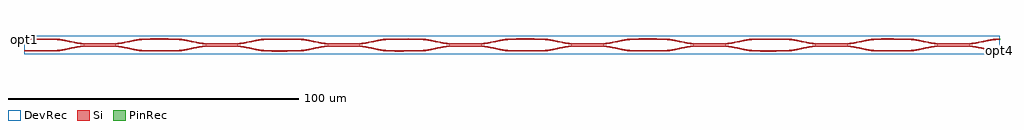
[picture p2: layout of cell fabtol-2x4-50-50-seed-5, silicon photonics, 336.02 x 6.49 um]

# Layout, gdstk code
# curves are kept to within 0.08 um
import gdstk
lib = gdstk.Library(unit=1e-6, precision=1e-09)
def R(c, l, rs):  # rectangles x0, y0, x1, y1
    for r in rs: c.add(gdstk.rectangle(r[:2], r[2:], *l))
def P(c, l, *ps):  # polygons
    for p in ps: c.add(gdstk.Polygon(p, *l))
Si = (1, 0)
PinRec = (1, 10)
DevRec = (68, 0)

layer_3_0_phase_sec_0_1 = lib.new_cell('layer-3_0_phase_sec_0$1')
P(layer_3_0_phase_sec_0_1, Si, [(1.371,-0.235),(0,-0.225),(0,0.225),(10,0.225),(10,-0.225)])

layer_0_0_phase_sec_0_1 = lib.new_cell('layer-0_0_phase_sec_0$1')
P(layer_0_0_phase_sec_0_1, Si, [(2.22,-0.228),(0,-0.225),(0,0.225),(10,0.225),(10,-0.225)])

layer_0_0_phase_sec_1_1 = lib.new_cell('layer-0_0_phase_sec_1$1')
P(layer_0_0_phase_sec_1_1, Si, [(3.771,-0.229),(0,-0.225),(0,0.225),(10,0.225),(10,-0.225)])

layer_2_0_phase_sec_3_1 = lib.new_cell('layer-2_0_phase_sec_3$1')
P(layer_2_0_phase_sec_3_1, Si, [(1.259,-0.231),(0,-0.225),(0,0.225),(10,0.225),(10,-0.225)])

dc_arm_down_1 = lib.new_cell('dc_arm_down$1')
R(dc_arm_down_1, Si, [(12,-0.55,20,-0.1)])
P(dc_arm_down_1, Si, [(32,-2.225),(30.861,-2.188),(29.344,-2.033),(22.966,-0.793),(21.481,-0.613),(20,-0.55),(20,-0.1),(21.139,-0.137),(22.656,-0.292),(29.034,-1.532),(30.519,-1.712),(32,-1.775)],
  [(0,-2.225),(0,-1.775),(1.481,-1.712),(2.966,-1.532),(9.344,-0.292),(10.861,-0.137),(12,-0.1),(12,-0.55),(10.519,-0.613),(9.034,-0.793),(2.656,-2.033),(1.139,-2.188)])

dc_arm_up_1 = lib.new_cell('dc_arm_up$1')
R(dc_arm_up_1, Si, [(12,0.1,20,0.55)])
P(dc_arm_up_1, Si, [(20,0.1),(20,0.55),(21.481,0.613),(22.966,0.793),(29.344,2.033),(30.861,2.188),(32,2.225),(32,1.775),(30.519,1.712),(29.034,1.532),(22.656,0.292),(21.139,0.137)],
  [(12,0.1),(10.861,0.137),(9.344,0.292),(2.966,1.532),(1.481,1.712),(0,1.775),(0,2.225),(1.139,2.188),(2.656,2.033),(9.034,0.793),(10.519,0.613),(12,0.55)])

dc_1 = lib.new_cell('dc$1')
dc_1.add(gdstk.Reference(dc_arm_down_1, (0,0)))
dc_1.add(gdstk.Reference(dc_arm_up_1, (0,0)))

layer_0_0_phase_sec_2_1 = lib.new_cell('layer-0_0_phase_sec_2$1')
P(layer_0_0_phase_sec_2_1, Si, [(3.047,-0.242),(0,-0.225),(0,0.225),(10,0.225),(10,-0.225)])

layer_3_0_phase_sec_2_1 = lib.new_cell('layer-3_0_phase_sec_2$1')
P(layer_3_0_phase_sec_2_1, Si, [(1.081,-0.24),(0,-0.225),(0,0.225),(10,0.225),(10,-0.225)])

layer_0_0_phase_sec_3_1 = lib.new_cell('layer-0_0_phase_sec_3$1')
P(layer_0_0_phase_sec_3_1, Si, [(7.243,-0.237),(0,-0.225),(0,0.225),(10,0.225),(10,-0.225)])

layer_1_0_phase_sec_0_1 = lib.new_cell('layer-1_0_phase_sec_0$1')
P(layer_1_0_phase_sec_0_1, Si, [(3.339,-0.231),(0,-0.225),(0,0.225),(10,0.225),(10,-0.225)])

layer_1_0_phase_sec_1_1 = lib.new_cell('layer-1_0_phase_sec_1$1')
P(layer_1_0_phase_sec_1_1, Si, [(2.643,-0.247),(0,-0.225),(0,0.225),(10,0.225),(10,-0.225)])

layer_3_0_phase_sec_1_1 = lib.new_cell('layer-3_0_phase_sec_1$1')
P(layer_3_0_phase_sec_1_1, Si, [(4.214,-0.244),(0,-0.225),(0,0.225),(10,0.225),(10,-0.225)])

layer_1_0_phase_sec_2_1 = lib.new_cell('layer-1_0_phase_sec_2$1')
P(layer_1_0_phase_sec_2_1, Si, [(6.297,-0.239),(0,-0.225),(0,0.225),(10,0.225),(10,-0.225)])

layer_1_0_phase_sec_3_1 = lib.new_cell('layer-1_0_phase_sec_3$1')
P(layer_1_0_phase_sec_3_1, Si, [(1.565,-0.24),(0,-0.225),(0,0.225),(10,0.225),(10,-0.225)])

layer_3_0_phase_sec_3_1 = lib.new_cell('layer-3_0_phase_sec_3$1')
P(layer_3_0_phase_sec_3_1, Si, [(2.103,-0.238),(0,-0.225),(0,0.225),(10,0.225),(10,-0.225)])

layer_2_0_phase_sec_0_1 = lib.new_cell('layer-2_0_phase_sec_0$1')
P(layer_2_0_phase_sec_0_1, Si, [(1.546,-0.243),(0,-0.225),(0,0.225),(10,0.225),(10,-0.225)])

layer_2_0_phase_sec_1_1 = lib.new_cell('layer-2_0_phase_sec_1$1')
P(layer_2_0_phase_sec_1_1, Si, [(1.384,-0.236),(0,-0.225),(0,0.225),(10,0.225),(10,-0.225)])

layer_2_0_phase_sec_2_1 = lib.new_cell('layer-2_0_phase_sec_2$1')
P(layer_2_0_phase_sec_2_1, Si, [(1.552,-0.246),(0,-0.225),(0,0.225),(10,0.225),(10,-0.225)])

fabtol_2x4_50_50_seed_5 = lib.new_cell('fabtol-2x4-50-50-seed-5')
R(fabtol_2x4_50_50_seed_5, DevRec, [(0,-1,336,5.493)])
fabtol_2x4_50_50_seed_5.add(gdstk.FlexPath([(335.99,0.247),(336.01,0.247)], 0.45, ends="flush", simple_path=True, layer=1, datatype=10))  # PinRec
fabtol_2x4_50_50_seed_5.add(gdstk.FlexPath([(335.99,4.247),(336.01,4.247)], 0.45, ends="flush", simple_path=True, layer=1, datatype=10))  # PinRec
fabtol_2x4_50_50_seed_5.add(gdstk.FlexPath([(0.01,4.247),(-0.01,4.247)], 0.45, ends="flush", simple_path=True, layer=1, datatype=10))  # PinRec
fabtol_2x4_50_50_seed_5.add(gdstk.Reference(layer_3_0_phase_sec_0_1, (252,4.247)))
fabtol_2x4_50_50_seed_5.add(gdstk.Reference(layer_0_0_phase_sec_0_1, (0,4.247)))
fabtol_2x4_50_50_seed_5.add(gdstk.Reference(layer_0_0_phase_sec_1_1, (0,0.247)))
fabtol_2x4_50_50_seed_5.add(gdstk.Reference(layer_2_0_phase_sec_3_1, (210,0.247)))
fabtol_2x4_50_50_seed_5.add(gdstk.Reference(dc_1, (10,2.247)))
fabtol_2x4_50_50_seed_5.add(gdstk.Reference(dc_1, (52,2.247)))
fabtol_2x4_50_50_seed_5.add(gdstk.Reference(dc_1, (94,2.247)))
fabtol_2x4_50_50_seed_5.add(gdstk.Reference(dc_1, (136,2.247)))
fabtol_2x4_50_50_seed_5.add(gdstk.Reference(dc_1, (178,2.247)))
fabtol_2x4_50_50_seed_5.add(gdstk.Reference(dc_1, (220,2.247)))
fabtol_2x4_50_50_seed_5.add(gdstk.Reference(dc_1, (262,2.247)))
fabtol_2x4_50_50_seed_5.add(gdstk.Reference(dc_1, (304,2.247)))
fabtol_2x4_50_50_seed_5.add(gdstk.Reference(layer_0_0_phase_sec_2_1, (42,4.247)))
fabtol_2x4_50_50_seed_5.add(gdstk.Reference(layer_3_0_phase_sec_2_1, (294,4.247)))
fabtol_2x4_50_50_seed_5.add(gdstk.Reference(layer_0_0_phase_sec_3_1, (42,0.247)))
fabtol_2x4_50_50_seed_5.add(gdstk.Reference(layer_1_0_phase_sec_0_1, (84,4.247)))
fabtol_2x4_50_50_seed_5.add(gdstk.Reference(layer_1_0_phase_sec_1_1, (84,0.247)))
fabtol_2x4_50_50_seed_5.add(gdstk.Reference(layer_3_0_phase_sec_1_1, (252,0.247)))
fabtol_2x4_50_50_seed_5.add(gdstk.Reference(layer_1_0_phase_sec_2_1, (126,4.247)))
fabtol_2x4_50_50_seed_5.add(gdstk.Reference(layer_1_0_phase_sec_3_1, (126,0.247)))
fabtol_2x4_50_50_seed_5.add(gdstk.Reference(layer_3_0_phase_sec_3_1, (294,0.247)))
fabtol_2x4_50_50_seed_5.add(gdstk.Reference(layer_2_0_phase_sec_0_1, (168,4.247)))
fabtol_2x4_50_50_seed_5.add(gdstk.Reference(layer_2_0_phase_sec_1_1, (168,0.247)))
fabtol_2x4_50_50_seed_5.add(gdstk.Reference(layer_2_0_phase_sec_2_1, (210,4.247)))
fabtol_2x4_50_50_seed_5.add(gdstk.Label('opt4', (336,0.247), layer=1, texttype=10))
fabtol_2x4_50_50_seed_5.add(gdstk.Label('opt3', (336,4.247), layer=1, texttype=10))
fabtol_2x4_50_50_seed_5.add(gdstk.Label('opt1', (0,4.247), layer=1, texttype=10))

lib.write_gds('fabtol-2x4-50-50-seed-5.gds')
